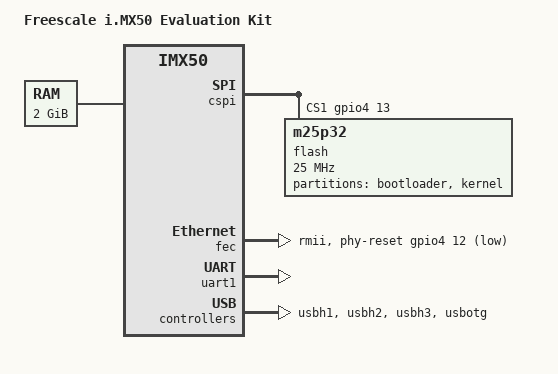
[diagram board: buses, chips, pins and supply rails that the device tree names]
/*
 * Copyright 2013 Greg Ungerer <gerg@uclinux.org>
 * Copyright 2011 Freescale Semiconductor, Inc.
 * Copyright 2011 Linaro Ltd.
 *
 * The code contained herein is licensed under the GNU General Public
 * License. You may obtain a copy of the GNU General Public License
 * Version 2 or later at the following locations:
 *
 * http://www.opensource.org/licenses/gpl-license.html
 * http://www.gnu.org/copyleft/gpl.html
 */

/dts-v1/;
#include "imx50.dtsi"

/ {
	model = "Freescale i.MX50 Evaluation Kit";
	compatible = "fsl,imx50-evk", "fsl,imx50";

	memory {
		reg = <0x70000000 0x80000000>;
	};
};

&cspi {
	pinctrl-names = "default";
	pinctrl-0 = <&pinctrl_cspi_1>;
	fsl,spi-num-chipselects = <2>;
	cs-gpios = <&gpio4 11 0>, <&gpio4 13 0>;
	status = "okay";

	flash: m25p32@1 {
		#address-cells = <1>;
		#size-cells = <1>;
		compatible = "m25p32", "m25p80";
		spi-max-frequency = <25000000>;
		reg = <1>;

		partition@0 {
			label = "bootloader";
			reg = <0x0 0x100000>;
			read-only;
		};

		partition@100000 {
			label = "kernel";
			reg = <0x100000 0x300000>;
		};
	};
};

&fec {
	pinctrl-names = "default";
	pinctrl-0 = <&pinctrl_fec_1>;
	phy-mode = "rmii";
	phy-reset-gpios = <&gpio4 12 0>;
	status = "okay";
};

&uart1 {
	pinctrl-names = "default";
	pinctrl-0 = <&pinctrl_uart1_1>;
	status = "okay";
};

&usbh1 {
	status = "okay";
};

&usbh2 {
	status = "okay";
};

&usbh3 {
	status = "okay";
};

&usbotg {
	status = "okay";
};
